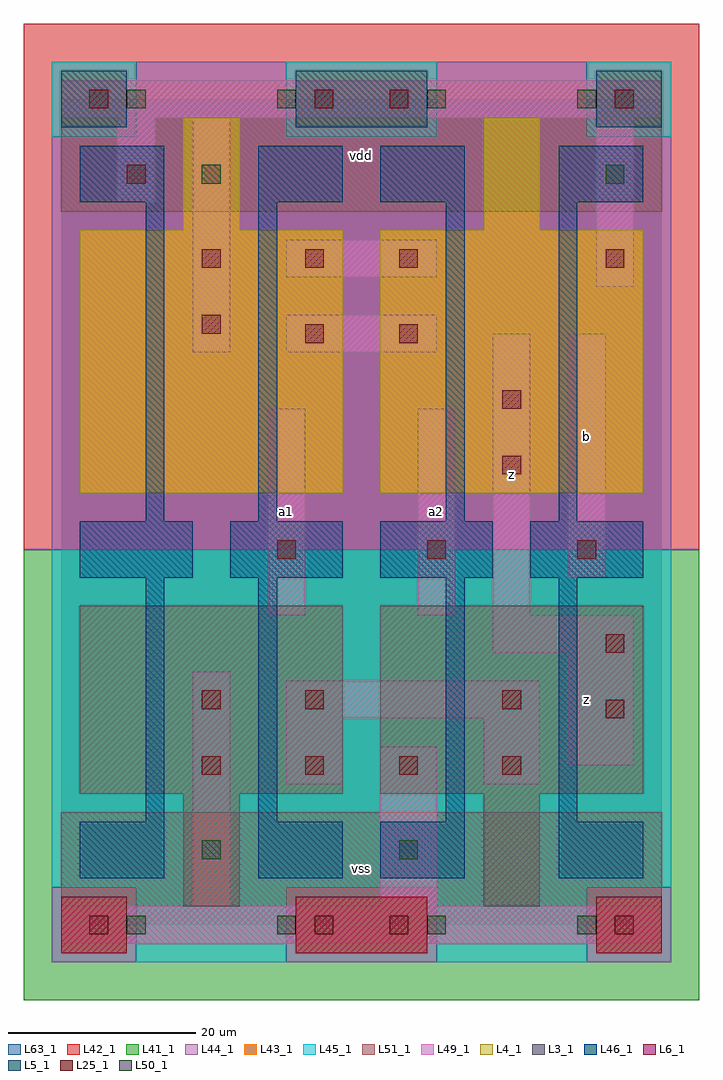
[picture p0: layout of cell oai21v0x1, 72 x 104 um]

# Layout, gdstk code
import gdstk
lib = gdstk.Library(unit=1e-6, precision=1e-09)
def R(c, l, rs):  # rectangles x0, y0, x1, y1
    for r in rs: c.add(gdstk.rectangle(r[:2], r[2:], *l))
def A(c, l, x, y, w, h, nx, ny, dx, dy):  # array of equal rectangles
    R(c, l, [(x+i*dx, y+j*dy, x+i*dx+w, y+j*dy+h) for i in range(nx) for j in range(ny)])
L3_1 = (3, 1)
L4_1 = (4, 1)
L5_1 = (5, 1)
L6_1 = (6, 1)
L25_1 = (25, 1)
L41_1 = (41, 1)
L42_1 = (42, 1)
L43_1 = (43, 1)
L44_1 = (44, 1)
L45_1 = (45, 1)
L46_1 = (46, 1)
L49_1 = (49, 1)
L50_1 = (50, 1)
L51_1 = (51, 1)
L63_1 = (63, 1)

oai21v0x1 = lib.new_cell('oai21v0x1')
R(oai21v0x1, L3_1, [(13,2,19,14), (45,2,51,14), (2,14,30,34), (34,14,62,34)])
R(oai21v0x1, L4_1, [(2,46,30,74), (34,46,62,74), (13,74,19,86), (45,74,51,86)])
R(oai21v0x1, L5_1, [(0,85,7,91), (25,85,39,91), (57,85,64,91)])
R(oai21v0x1, L6_1, [(0,-3,7,3), (0,-3,7,3), (25,-3,39,3), (25,-3,39,3), (57,-3,64,3), (57,-3,64,3)])
A(oai21v0x1, L25_1, 23, 39, 2, 2, 3, 1, 16, 0)
R(oai21v0x1, L25_1, [(3,-1,5,1), (27,-1,29,1), (35,-1,37,1), (59,-1,61,1), (15,16,17,18), (26,16,28,18), (36,16,38,18), (47,16,49,18), (58,22,60,24), (15,23,17,25), (26,23,28,25), (47,23,49,25), (58,29,60,31), (47,48,49,50), (47,55,49,57), (26,62,28,64), (36,62,38,64), (15,63,17,65), (15,70,17,72), (26,70,28,72), (36,70,38,72), (58,70,60,72), (7,79,9,81), (3,87,5,89), (27,87,29,89), (35,87,37,89), (59,87,61,89)])
R(oai21v0x1, L41_1, [(-4,-8,68,40)])
R(oai21v0x1, L42_1, [(-4,40,68,96)])
R(oai21v0x1, L43_1, [(0,-3,7,3), (25,-3,39,3), (57,-3,64,3), (13,2,19,14), (45,2,51,14), (2,14,30,34), (34,14,62,34), (2,46,30,74), (34,46,62,74), (13,74,19,86), (45,74,51,86), (0,85,7,91), (25,85,39,91), (57,85,64,91)])
R(oai21v0x1, L44_1, [(-1,-4,8,4), (24,-4,40,4), (56,-4,65,4), (-1,40,65,84), (8,84,24,92), (40,84,56,92)])
R(oai21v0x1, L45_1, [(8,-4,24,4), (40,-4,56,4), (-1,4,65,40), (-1,84,8,92), (24,84,40,92), (56,84,65,92)])
A(oai21v0x1, L46_1, 2, 37, 12, 6, 4, 1, 16, 0)
R(oai21v0x1, L46_1, [(2,5,11,11), (21,5,30,11), (34,5,43,11), (53,5,62,11), (9,11,11,37), (21,11,23,37), (41,11,43,37), (53,11,55,37), (9,43,11,77), (21,43,23,77), (41,43,43,77), (53,43,55,77), (2,77,11,83), (21,77,30,83), (34,77,43,83), (53,77,62,83)])
R(oai21v0x1, L49_1, [(0,-2,64,2), (14,2,18,27), (34,2,40,19), (24,15,30,22), (45,15,51,22), (54,17,61,29), (24,22,51,26), (46,29,61,33), (22,33,26,55), (38,33,42,55), (46,33,50,63), (54,37,58,63), (14,61,18,86), (24,61,40,65), (57,68,61,86), (24,69,40,73), (6,77,10,86), (0,86,64,90)])
A(oai21v0x1, L50_1, 7, -1, 2, 2, 4, 2, 16, 88)
R(oai21v0x1, L50_1, [(15,7,17,9), (36,7,38,9), (15,79,17,81), (58,79,60,81)])
R(oai21v0x1, L51_1, [(0,-2,64,12), (0,76,64,90)])
R(oai21v0x1, L63_1, [(0,0,64,88)])
oai21v0x1.add(gdstk.Label('a1', (24,44), layer=49, texttype=1))
oai21v0x1.add(gdstk.Label('a2', (40,44), layer=49, texttype=1))
oai21v0x1.add(gdstk.Label('z', (56,24), layer=49, texttype=1))
oai21v0x1.add(gdstk.Label('z', (48,48), layer=49, texttype=1))
oai21v0x1.add(gdstk.Label('b', (56,52), layer=49, texttype=1))
oai21v0x1.add(gdstk.Label('vss', (32,6), layer=51, texttype=1))
oai21v0x1.add(gdstk.Label('vdd', (32,82), layer=51, texttype=1))

lib.write_gds('oai21v0x1.gds')
